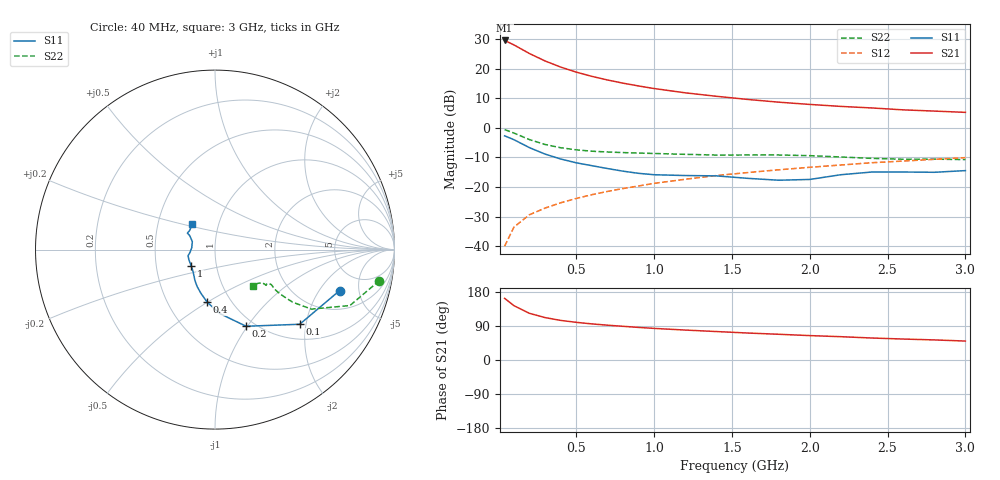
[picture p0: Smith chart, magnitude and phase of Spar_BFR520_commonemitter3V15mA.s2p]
! Filename:  BFR520D.S2P  Version:  2.1
! NXP part #: BFR520  Date: Sep 1991
! Bias condition: Vce=3V, Ic=15mA
#  MHz  S  MA  R  50
! Freq  S11  S21  S12  S22  !GUM [dB]
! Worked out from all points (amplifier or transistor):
!   21 points, 40 MHz to 3 GHz, reference 50 ohm
!   highest |S21| = 29.5 dB at 40 MHz (marker M1)
!   |S21| within 3 dB of that: start of sweep to 151.1 MHz
!   unconditionally stable (mu >= 1): 898.5 MHz to end of sweep
!   at 300 MHz: K = 0.74, MSG = 24.9 dB, |S12| = -27.1 dB
!   at 1 GHz: K = 1.01, MAG = 15.5 dB, |S12| = -18.8 dB
!   at 3 GHz: K = 1.01, MAG = 7.0 dB, |S12| = -10.1 dB
!   lowest NFmin = 1.30 dB at 500 MHz
!   S11 on the Smith chart (normalised r, x): 40 MHz: 3.20, -3.14; 100 MHz: 1.34, -1.84; 200 MHz: 0.91, -0.99; 400 MHz: 0.78, -0.50; 1 GHz: 0.75, -0.14; 3 GHz: 0.75, +0.22
40  0.731 -18.2  29.85 162.7  0.01 82.7  0.932 -10.7
100  0.629 -41.4  25.09 143.3  0.021 72.2  0.814 -22.5
200  0.461 -67.9  17.93 123.1  0.034 67.4  0.631 -31.7
300  0.359 -85.3  13.44 111.9  0.044 67.2  0.522 -34.1
400  0.297 -98.3  10.6 104.5  0.054 68.2  0.46 -34.3
500  0.256 -107.8  8.712 99.4  0.064 69.4  0.424 -34.1
600  0.229 -115.7  7.394 95.3  0.074 70.1  0.402 -33.6
700  0.205 -123.1  6.425 91.9  0.084 71.4  0.39 -33.2
800  0.185 -129.6  5.673 88.9  0.094 71.9  0.381 -32.5
900  0.17 -136.9  5.09 86.0  0.104 72.1  0.374 -32.1
1000  0.161 -145.2  4.602 83.4  0.115 72.1  0.368 -31.9
1200  0.156 -158.8  3.896 79.0  0.135 72.2  0.356 -32.1
1400  0.154 -167.2  3.405 75.1  0.156 71.7  0.346 -33.5
1600  0.14 -173.6  3.012 71.2  0.175 71.0  0.347 -34.0
1800  0.13 175.4  2.708 67.9  0.195 70.4  0.347 -35.0
2000  0.134 160.5  2.479 64.4  0.215 69.3  0.338 -34.8
2200  0.161 151.0  2.296 61.5  0.235 68.3  0.321 -35.2
2400  0.179 149.2  2.161 58.0  0.257 67.2  0.304 -38.2
2600  0.179 149.2  2.008 55.3  0.274 65.8  0.294 -42.1
2800  0.177 143.1  1.914 53.0  0.293 65.0  0.295 -44.2
3000  0.189 131.9  1.821 50.0  0.313 63.5  0.29 -43.9
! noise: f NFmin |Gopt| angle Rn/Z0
500  1.3  0.164  27  0.21
900  1.45  0.13  58  0.21
1000  1.5  0.134  62  0.24
2000  2.05  0.16  -169  0.16
